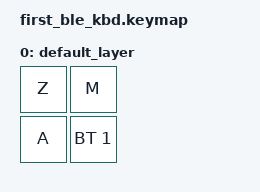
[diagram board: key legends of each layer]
#include <behaviors.dtsi>
#include <dt-bindings/zmk/keys.h>
#include <dt-bindings/zmk/bt.h>

/ {
    keymap {
        compatible = "zmk,keymap";

        default_layer {
            bindings = <
                &kp Z    &kp M
                &kp A    &bt BT_SEL 1
            >;
        };
    };
 };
